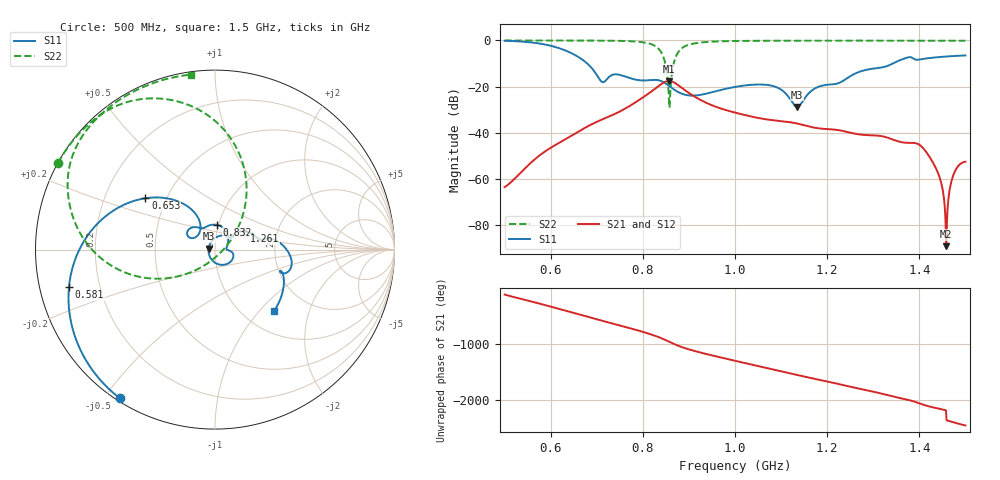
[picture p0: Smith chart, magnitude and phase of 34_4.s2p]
! TOUCHSTONE file generated by CST MICROWAVE STUDIO
! Date and time: Fri Oct  2 17:00:05 2020
! Project name: Scenario_1_Free_Space_out_of_line.cst
! Parameters = {Lambda=346.42; Step_1=17.321; dy1=-224.613; dx1=693; L_HA=400; MT=2.54; Rad_Dielectric=30; Rad_Lower=7.3; Rad_Upper=30; a_HA=580; a_WG=246; b_HA=500; b_WG=121; c_HA=0; c_WG=187; d_feed=85; h_feed=15; h_lower=18; h_upper=40}
! Header version: 2018
! Port assignment regex: !\s*Touchstone port\s*([0-9]+)\s*=\s*(CST MWS port|CST DS port)\s*([0-9]+|Zmin|Zmax)\s*\(\"(.*)\"\)(\s*mode\s*([0-9]+))?.*
! Touchstone port assignment:
! Touchstone port 1 = CST MWS port 1 ("")
! Touchstone port 2 = CST MWS port 2 ("")
# GHz S DB R 50
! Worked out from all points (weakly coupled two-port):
!   1003 points, 500 MHz to 1.5 GHz, reference 50 ohm
!   highest |S21| = -17.56 dB at 857 MHz (marker M1); lowest = -89.2 dB at 1.458 GHz (marker M2)
!   lowest |S11| = -28.9 dB at 1.135 GHz (marker M3), VSWR 1.07, Z = 46.6 + j0.431 ohm
!   |S11| at or under -10 dB: 679.3 MHz to 1.343 GHz (663.3 MHz wide, 65.6 % of centre)
!   |S22| runs from -29.1 to 0.0 dB; largest |S21 - S12| = 3.2e-05
!   S11 on the Smith chart (normalised r, x): 500 MHz: 0.01, -0.55; 581 MHz: 0.09, -0.13; 653 MHz: 0.38, +0.29; 832 MHz: 0.98, +0.28; 1.261 GHz: 1.35, +0.29; 1.5 GHz: 1.38, -1.20
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0.5  -0.15 -122.7  -63.58 -123.4  -63.58 -123.4  -0.01 151.1
0.581  -1.52 -165.6  -49.06 63.3  -49.06 63.3  -0.01 145.5
0.653  -6.34 143.6  -40.40 -97.6  -40.40 -97.6  -0.04 139.6
0.667  -8.07 133.5  -38.74 -129.3  -38.74 -129.3  -0.04 138.2
0.712  -18.03 136.2  -34.23 127.3  -34.23 127.3  -0.09 133.2
0.832  -17.19 86.0  -20.09 -157.2  -20.09 -157.2  -3.18 87.8
0.834  -17.26 82.8  -19.79 -163.5  -19.79 -163.5  -3.57 85.1
0.846  -18.22 62.5  -18.16 155.3  -18.16 155.3  -7.98 63.9
0.857  -19.73 45.3  -17.56 112.7  -17.56 112.7  -27.37 -6.2
0.869  -21.45 30.5  -18.35 66.9  -18.35 66.9  -8.52 -154.4
0.887  -23.27 14.9  -20.92 10.4  -20.92 10.4  -3.04 178.2
1  -20.16 -9.7  -31.27 132.8  -31.28 132.8  -0.25 140.0
1.085  -19.91 -55.0  -34.65 -24.9  -34.65 -24.9  -0.13 130.9
1.135  -28.88 172.6  -36.03 -120.7  -36.03 -120.7  -0.11 126.6
1.167  -21.67 69.3  -37.59 -179.1  -37.59 -179.1  -0.09 124.1
1.261  -14.34 32.2  -40.46 10.3  -40.46 10.3  -0.08 116.9
1.334  -10.81 12.0  -42.35 -128.0  -42.35 -128.0  -0.09 111.3
1.413  -7.86 -20.3  -47.83 56.2  -47.83 56.2  -0.10 105.1
1.443  -7.21 -29.0  -58.76 -3.6  -58.76 -3.7  -0.12 102.7
1.458  -6.97 -33.5  -89.19 -37.8  -89.19 -38.5  -0.12 101.4
1.475  -6.75 -38.5  -57.79 112.0  -57.79 112.0  -0.13 100.0
1.5  -6.49 -45.8  -52.55 56.8  -52.54 56.8  -0.14 97.7
